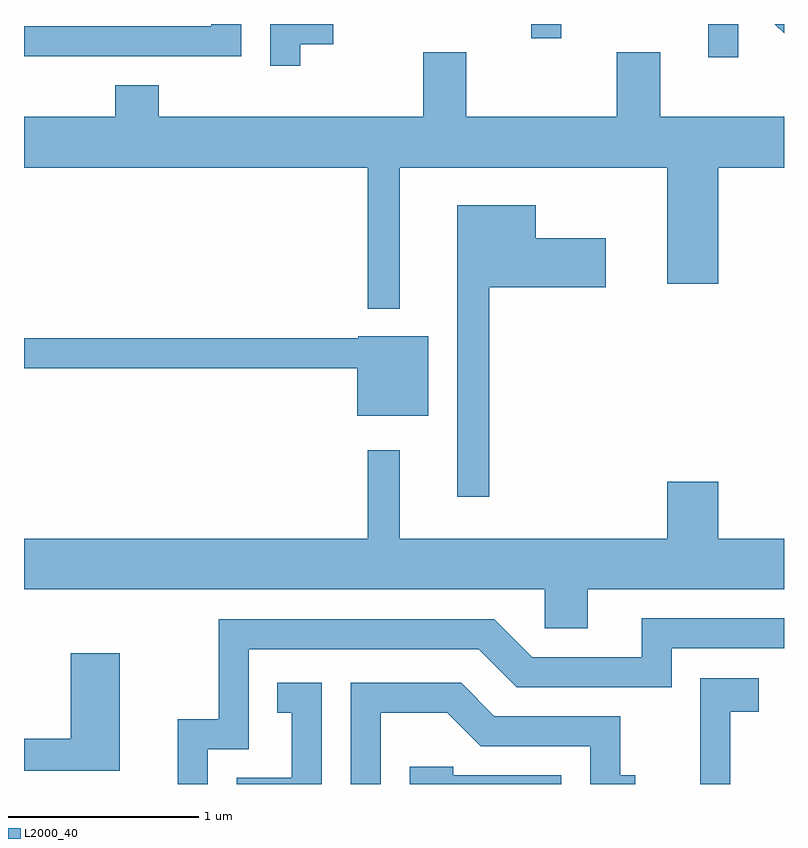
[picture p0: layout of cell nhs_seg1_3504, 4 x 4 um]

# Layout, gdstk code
import gdstk
lib = gdstk.Library(unit=1e-6, precision=1e-09)
def R(c, l, rs):  # rectangles x0, y0, x1, y1
    for r in rs: c.add(gdstk.rectangle(r[:2], r[2:], *l))
def P(c, l, *ps):  # polygons
    for p in ps: c.add(gdstk.Polygon(p, *l))
L2000_40 = (2000, 40)

nhs_seg1_3504 = lib.new_cell('nhs_seg1_3504')
R(nhs_seg1_3504, L2000_40, [(295.211,853.538,295.369,853.712), (294.281,853.638,294.439,853.712)])
P(nhs_seg1_3504, L2000_40, [(295.611,853.712),(295.563,853.712),(295.611,853.664)],
  [(292.754,853.712),(292.596,853.712),(292.596,853.699),(291.611,853.699),(291.611,853.541),(292.754,853.541)],
  [(293.064,853.606),(293.239,853.606),(293.239,853.712),(292.906,853.712),(292.906,853.493),(293.064,853.493)],
  [(293.589,852.956),(294.996,852.956),(294.996,852.346),(295.264,852.346),(295.264,852.956),(295.611,852.956),(295.611,853.224),(294.959,853.224),(294.959,853.564),(294.731,853.564),(294.731,853.224),(293.939,853.224),(293.939,853.564),(293.711,853.564),(293.711,853.224),(292.319,853.224),(292.319,853.389),(292.091,853.389),(292.091,853.224),(291.611,853.224),(291.611,852.956),(293.421,852.956),(293.421,852.213),(293.589,852.213)],
  [(294.059,852.326),(294.674,852.326),(294.674,852.584),(294.304,852.584),(294.304,852.759),(293.891,852.759),(293.891,851.223),(294.059,851.223)],
  [(293.739,852.069),(293.37,852.069),(293.37,852.059),(291.611,852.059),(291.611,851.901),(293.366,851.901),(293.366,851.651),(293.739,851.651)],
  [(294.579,850.736),(295.611,850.736),(295.611,851.004),(295.264,851.004),(295.264,851.304),(294.996,851.304),(294.996,851.004),(293.589,851.004),(293.589,851.468),(293.421,851.468),(293.421,851.004),(291.611,851.004),(291.611,850.736),(294.351,850.736),(294.351,850.531),(294.579,850.531)],
  [(292.579,849.896),(292.794,849.896),(292.794,850.421),(294.004,850.421),(294.204,850.221),(295.019,850.221),(295.019,850.426),(295.611,850.426),(295.611,850.584),(294.861,850.584),(294.861,850.379),(294.287,850.379),(294.087,850.579),(292.636,850.579),(292.636,850.054),(292.421,850.054),(292.421,849.712),(292.579,849.712)],
  [(292.114,850.399),(291.856,850.399),(291.856,849.949),(291.611,849.949),(291.611,849.781),(292.114,849.781)],
  [(295.329,850.091),(295.479,850.091),(295.479,850.269),(295.171,850.269),(295.171,849.712),(295.329,849.712)],
  [(293.489,850.086),(293.839,850.086),(294.014,849.911),(294.591,849.911),(294.591,849.712),(294.828,849.712),(294.828,849.759),(294.749,849.759),(294.749,850.069),(294.087,850.069),(293.912,850.244),(293.331,850.244),(293.331,849.712),(293.489,849.712)],
  [(293.179,850.244),(292.943,850.244),(292.943,850.086),(293.021,850.086),(293.021,849.744),(292.731,849.744),(292.731,849.712),(293.179,849.712)],
  [(294.439,849.759),(293.869,849.759),(293.869,849.804),(293.641,849.804),(293.641,849.712),(294.439,849.712)])

lib.write_gds('nhs_seg1_3504.gds')
